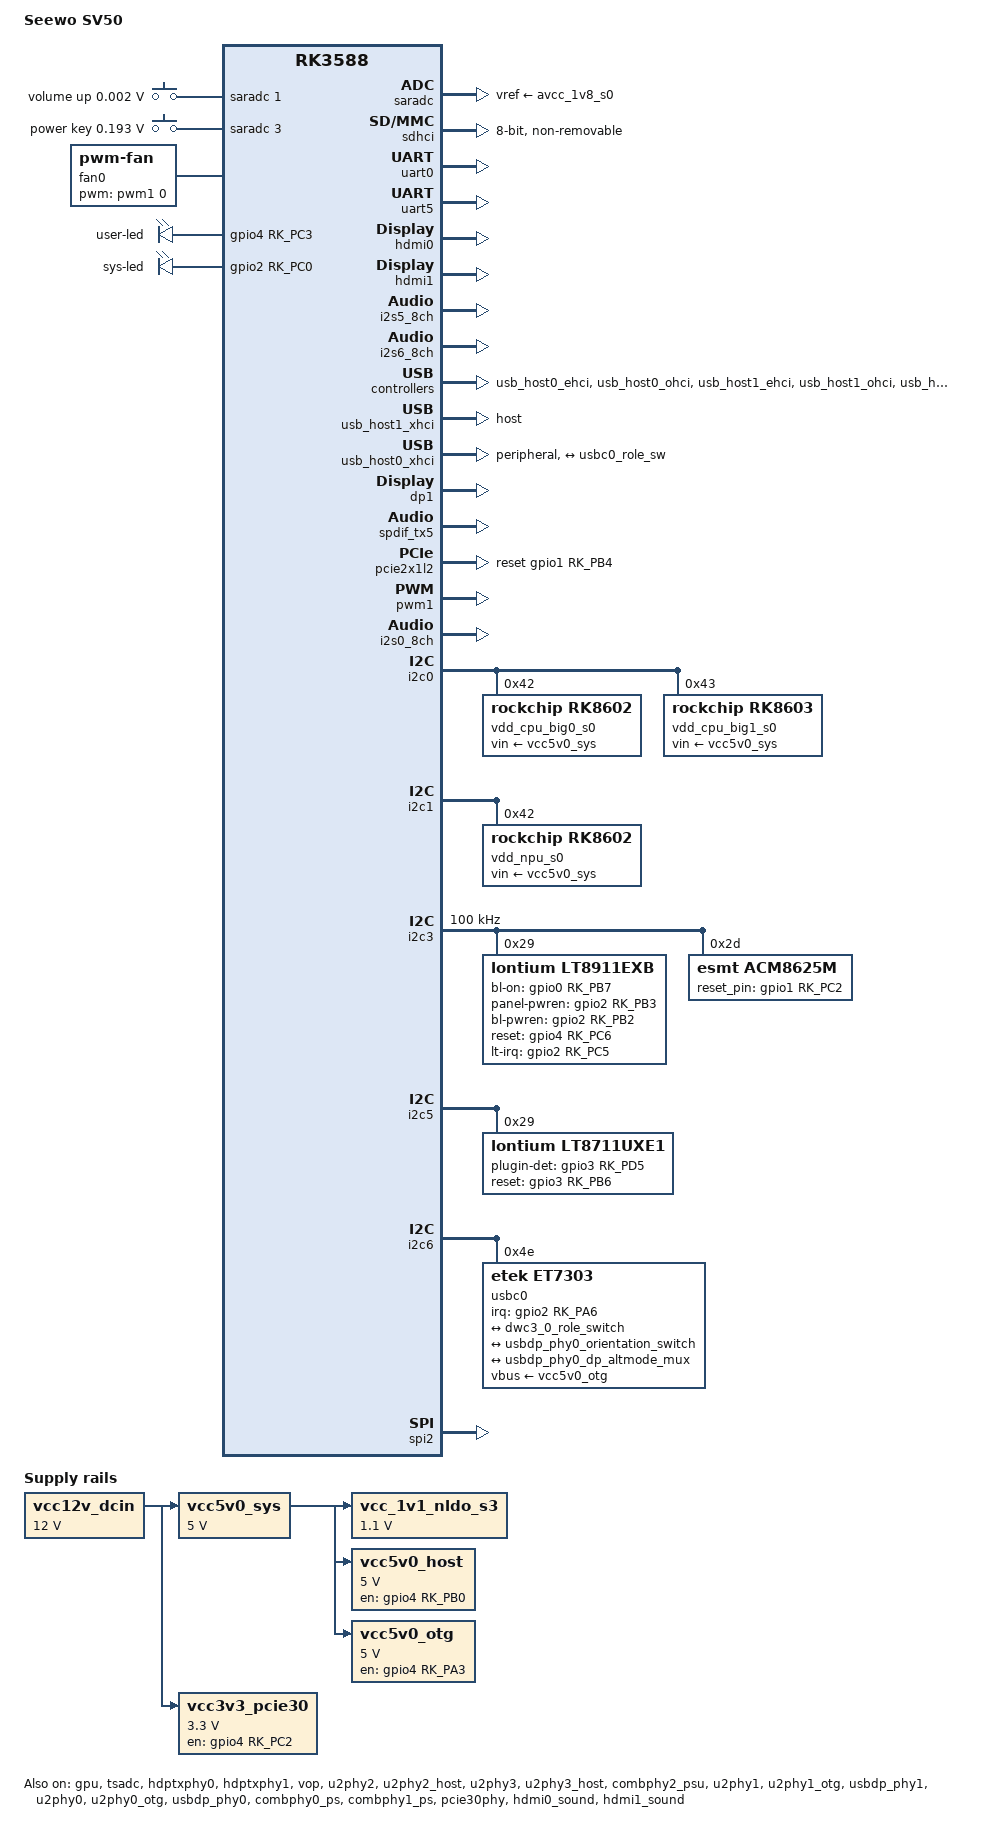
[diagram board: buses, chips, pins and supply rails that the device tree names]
// SPDX-License-Identifier: (GPL-2.0+ OR MIT)
/*
 * Copyright (c) 2024 Rockchip Electronics Co., Ltd.
 * Copyright (c) 2024 Radxa Computer (Shenzhen) Co., Ltd.
 * Copyright (c) 2026 ColtPlus
 */

/dts-v1/;

#include <dt-bindings/gpio/gpio.h>
#include <dt-bindings/leds/common.h>
#include <dt-bindings/pwm/pwm.h>
#include <dt-bindings/pinctrl/rockchip.h>
#include <dt-bindings/input/linux-event-codes.h>
#include <dt-bindings/soc/rockchip,vop2.h>
#include <dt-bindings/usb/pd.h>
#include "rk3588.dtsi"
#include "rk3588-rk806-single.dtsi"

/ {
	model = "Seewo SV50";
	compatible = "seewo,sv50", "rockchip,rk3588";

	aliases {
		mmc0 = &sdmmc;
		mmc1 = &sdhci;
		mmc2 = &sdio;
	};

	adc_keys: adc-keys {
		compatible = "adc-keys";
		io-channels = <&saradc 1>;
		io-channel-names = "buttons";
		keyup-threshold-microvolt = <1800000>;
		poll-interval = <100>;

		vol-up-key {
			label = "volume up";
			linux,code = <KEY_VOLUMEUP>;
			press-threshold-microvolt = <1750>;
		};
	};

	adc_power_keys: adc-power-keys {
		compatible = "adc-keys";
		io-channels = <&saradc 3>;
		io-channel-names = "buttons";
		keyup-threshold-microvolt = <1800000>;
		poll-interval = <100>;

		adc-power-key {
			label = "power key";
			linux,code = <KEY_POWER>;
			press-threshold-microvolt = <192920>;
			wakeup-source;
		};
	};

	fan0: pwm-fan {
		compatible = "pwm-fan";
		cooling-levels = <0 120 150 180 210 240 255>;
		pwms = <&pwm1 0 50000 0>;
		#cooling-cells = <2>;
	};

	vcc12v_dcin: vcc12v-dcin {
		compatible = "regulator-fixed";
		regulator-name = "vcc12v_dcin";
		regulator-always-on;
		regulator-boot-on;
		regulator-min-microvolt = <12000000>;
		regulator-max-microvolt = <12000000>;
	};

	vcc5v0_sys: vcc5v0-sys {
		compatible = "regulator-fixed";
		regulator-name = "vcc5v0_sys";
		regulator-always-on;
		regulator-boot-on;
		regulator-min-microvolt = <5000000>;
		regulator-max-microvolt = <5000000>;
		vin-supply = <&vcc12v_dcin>;
	};

	vcc_1v1_nldo_s3: regulator-vcc-1v1-nldo-s3 {
		compatible = "regulator-fixed";
		regulator-name = "vcc_1v1_nldo_s3";
		regulator-always-on;
		regulator-boot-on;
		regulator-min-microvolt = <1100000>;
		regulator-max-microvolt = <1100000>;
		vin-supply = <&vcc5v0_sys>;
	};

	dp1_sound: dp1-sound {
		compatible = "simple-audio-card";
		simple-audio-card,name = "rockchip,dp1";
		simple-audio-card,mclk-fs = <512>;
		status = "disabled";

		simple-audio-card,cpu {
			sound-dai = <&spdif_tx5>;
		};

		simple-audio-card,codec {
			sound-dai = <&dp1>;
		};
	};

	acm8625m_sound: i2s0-sound {
		compatible = "simple-audio-card";
		simple-audio-card,format = "i2s";
		simple-audio-card,name = "rockchip,acm8625m";
		simple-audio-card,mclk-fs = <256>;
		status = "disabled";

		simple-audio-card,cpu {
			sound-dai = <&i2s0_8ch>;
		};

		simple-audio-card,codec {
			sound-dai = <&acm8625m>;
		};
	};

	vcc3v3_pcie30: regulator-vcc3v3-pcie30 {
		compatible = "regulator-fixed";
		enable-active-high;
		gpios = <&gpio4 RK_PC2 GPIO_ACTIVE_HIGH>;
		pinctrl-names = "default";
		pinctrl-0 = <&pcie3_vcc3v3_en>;
		regulator-name = "vcc3v3_pcie30";
		regulator-min-microvolt = <3300000>;
		regulator-max-microvolt = <3300000>;
		startup-delay-us = <7500>;
		vin-supply = <&vcc12v_dcin>;
	};

	vcc5v0_host: vcc5v0-host-regulator {
		compatible = "regulator-fixed";
		regulator-name = "vcc5v0_host";
		regulator-boot-on;
		regulator-always-on;
		regulator-min-microvolt = <5000000>;
		regulator-max-microvolt = <5000000>;
		vin-supply = <&vcc5v0_sys>;
		enable-active-high;
		gpio = <&gpio4 RK_PB0 GPIO_ACTIVE_HIGH>;
		pinctrl-names = "default";
		pinctrl-0 = <&vcc5v0_host_en>;
	};

	vcc5v0_otg: vcc5v0-otg-regulator {
		compatible = "regulator-fixed";
		regulator-name = "vcc5v0_otg";
		regulator-min-microvolt = <5000000>;
		regulator-max-microvolt = <5000000>;
		enable-active-high;
		gpio = <&gpio4 RK_PA3 GPIO_ACTIVE_HIGH>;
		vin-supply = <&vcc5v0_sys>;
		pinctrl-names = "default";
		pinctrl-0 = <&vcc5v0_otg_en>;
	};

	reserved_memory: reserved-memory {
		#address-cells = <2>;
		#size-cells = <2>;
		ranges;

		cma: linux,cma@10000000 {
			compatible = "shared-dma-pool";
			reusable;
			reg = <0x0 (256 * 0x100000) 0x0 (256 * 0x100000)>;
			linux,cma-default;
		};
	};

	gpio-leds {
		compatible = "gpio-leds";
		pinctrl-names = "default";

		user-led {
			gpios = <&gpio4 RK_PC3 GPIO_ACTIVE_HIGH>;
			linux,default-trigger = "heartbeat";
			default-state = "on";
		};

		sys-led {
			gpios = <&gpio2 RK_PC0 GPIO_ACTIVE_HIGH>;
			linux,default-trigger = "boot";
		};
	};
};

&cpu_l0 {
	cpu-supply = <&vdd_cpu_lit_s0>;
	mem-supply = <&vdd_cpu_lit_mem_s0>;
};

&cpu_b0 {
	cpu-supply = <&vdd_cpu_big0_s0>;
};

&cpu_b2 {
	cpu-supply = <&vdd_cpu_big1_s0>;
};

&gpu {
	mali-supply = <&vdd_gpu_s0>;
	status = "okay";
};

&saradc {
	status = "okay";
	vref-supply = <&avcc_1v8_s0>;
};

&sdhci {
	bus-width = <8>;
	no-sdio;
	no-sd;
	non-removable;
	mmc-hs400-1_8v;
	mmc-hs400-enhanced-strobe;
	status = "okay";
};

&package_thermal {
	polling-delay = <1000>;

	trips {
		package_fan0: package-fan0 {
			temperature = <55000>;
			hysteresis = <2000>;
			type = "active";
		};

		package_fan1: package-fan1 {
			temperature = <65000>;
			hysteresis = <2000>;
			type = "active";
		};

		package_fan2: package-fan2 {
			temperature = <75000>;
			hysteresis = <2000>;
			type = "active";
		};
	};

	cooling-maps {
		map0 {
			trip = <&package_fan0>;
			cooling-device = <&fan0 THERMAL_NO_LIMIT 2>;
		};

		map1 {
			trip = <&package_fan1>;
			cooling-device = <&fan0 3 5>;
		};

		map2 {
			trip = <&package_fan2>;
			cooling-device = <&fan0 6 THERMAL_NO_LIMIT>;
		};
	};
};

&uart0 {
	pinctrl-0 = <&uart0m0_xfer>;
	status = "okay";
};

&uart5 {
	pinctrl-0 = <&uart5m0_xfer>;
	status = "okay";
};

&tsadc {
	status = "okay";
};

&hdptxphy0 {
	status = "okay";
};

&hdptxphy1 {
	status = "okay";
};

&hdmi0 {
	/* Override pinctrl: omit CEC pin, keep HPD and DDC */
	pinctrl-0 = <&hdmim0_tx0_hpd &hdmim0_tx0_scl &hdmim0_tx0_sda>;
	tmds-enable-gpios = <&gpio4 RK_PB1 GPIO_ACTIVE_HIGH>;
	status = "okay";
};

&hdmi0_in {
	hdmi0_in_vp0: endpoint {
		remote-endpoint = <&vp0_out_hdmi0>;
	};
};

&hdmi1 {
	pinctrl-names = "default";
	pinctrl-0 = <&hdmim0_tx1_hpd &hdmim1_tx1_scl &hdmim1_tx1_sda>;
	tmds-enable-gpios = <&gpio4 RK_PB2 GPIO_ACTIVE_HIGH>;
	status = "okay";
};

&hdmi1_in {
	hdmi1_in_vp1: endpoint {
		remote-endpoint = <&vp1_out_hdmi1>;
	};
};

&i2s5_8ch {
	rockchip,playback-only;
	status = "okay";
};

&i2s6_8ch {
	rockchip,playback-only;
	status = "okay";
};

&vop {
	status = "okay";
};

&vop_mmu {
	status = "okay";
};

&vp0 {
	vp0_out_hdmi0: endpoint@ROCKCHIP_VOP2_EP_HDMI0 {
		reg = <ROCKCHIP_VOP2_EP_HDMI0>;
		remote-endpoint = <&hdmi0_in_vp0>;
	};
};

&vp1 {
	vp1_out_hdmi1: endpoint@ROCKCHIP_VOP2_EP_HDMI1 {
		reg = <ROCKCHIP_VOP2_EP_HDMI1>;
		remote-endpoint = <&hdmi1_in_vp1>;
	};
};

&vp2 {
	vp2_out_dp1: endpoint@b {
		reg = <ROCKCHIP_VOP2_EP_DP1>;
		remote-endpoint = <&dp1_in_vp2>;
	};
};

&u2phy2 {
	status = "okay";
};

&u2phy2_host {
	phy-supply = <&vcc5v0_host>;
	status = "okay";
};

&u2phy3 {
	status = "okay";
};

&u2phy3_host {
	phy-supply = <&vcc5v0_host>;
	status = "okay";
};

&usb_host0_ehci {
	status = "okay";
};

&usb_host0_ohci {
	status = "okay";
};

&usb_host1_ehci {
	status = "okay";
};

&usb_host1_ohci {
	status = "okay";
};

/* USB3 host via combphy2 (replaces BSP usbhost3_0/usbhost_dwc3_0) */
&combphy2_psu {
	status = "okay";
};

&usb_host2_xhci {
	status = "okay";
};

&u2phy1 {
	status = "okay";
};

&u2phy1_otg {
	phy-supply = <&vcc5v0_host>;
	status = "okay";
};

/* USB3 OTG1 host (replaces BSP usbdrd3_1/usbdrd_dwc3_1) */
&usb_host1_xhci {
	dr_mode = "host";
	status = "okay";
};

&usbdp_phy1 {
	rockchip,dp-lane-mux = <2 3>;
	status = "okay";
};

/* USB3 OTG0 with Type-C (replaces BSP usbdrd3_0/usbdrd_dwc3_0) */
&u2phy0 {
	status = "okay";
};

&u2phy0_otg {
	vbus-supply = <&vcc5v0_otg>;
	status = "okay";
};

&usb_host0_xhci {
	dr_mode = "peripheral";
	usb-role-switch;
	status = "okay";

	port {
		dwc3_0_role_switch: endpoint {
			remote-endpoint = <&usbc0_role_sw>;
		};
	};
};

&usbdp_phy0 {
	mode-switch;
	orientation-switch;
	sbu1-dc-gpios = <&gpio0 RK_PC6 GPIO_ACTIVE_HIGH>;
	sbu2-dc-gpios = <&gpio0 RK_PD3 GPIO_ACTIVE_HIGH>;
	status = "okay";

	port {
		#address-cells = <1>;
		#size-cells = <0>;

		usbdp_phy0_orientation_switch: endpoint@0 {
			reg = <0>;
			remote-endpoint = <&usbc0_orien_sw>;
		};

		usbdp_phy0_dp_altmode_mux: endpoint@1 {
			reg = <1>;
			remote-endpoint = <&dp_altmode_mux>;
		};
	};
};

&dp1 {
	status = "okay";
	pinctrl-0 = <&dp1m0_pins>;
	pinctrl-names = "default";
};

&dp1_in {
	dp1_in_vp2: endpoint {
		remote-endpoint = <&vp2_out_dp1>;
	};
};

&spdif_tx5 {
	status = "okay";
};

&combphy0_ps {
	status = "okay";
};

&pcie2x1l2 {
	reset-gpios = <&gpio1 RK_PB4 GPIO_ACTIVE_HIGH>;
	status = "okay";
};

&combphy1_ps {
	status = "okay";
};

&pcie30phy {
	status = "okay";
};

&pcie3x4 {
	reset-gpios = <&gpio1 RK_PB2 GPIO_ACTIVE_HIGH>;
	vpcie3v3-supply = <&vcc3v3_pcie30>;
	status = "disabled";
};

&pwm1 {
	status = "okay";
};

&i2s0_8ch {
	pinctrl-names = "default";
	pinctrl-0 = <&i2s0_lrck
		     &i2s0_sclk
		     &i2s0_sdo0>;
	status = "okay";
};

&hdmi0_sound {
	status = "okay";
};

&hdmi1_sound {
	status = "okay";
};

&avcc_1v8_s0 {
	regulator-state-mem {
		regulator-on-in-suspend;
		regulator-suspend-microvolt = <1800000>;
	};
};

&vdd_log_s0 {
	regulator-state-mem {
		regulator-on-in-suspend;
	};
};

&i2c0 {
	status = "okay";
	pinctrl-names = "default";
	pinctrl-0 = <&i2c0m2_xfer>;

	vdd_cpu_big0_s0: regulator@42 {
		compatible = "rockchip,rk8602";
		reg = <0x42>;
		vin-supply = <&vcc5v0_sys>;
		fcs,suspend-voltage-selector = <1>;
		regulator-name = "vdd_cpu_big0_s0";
		regulator-min-microvolt = <550000>;
		regulator-max-microvolt = <1050000>;
		regulator-ramp-delay = <2300>;
		regulator-boot-on;
		regulator-always-on;

		regulator-state-mem {
			regulator-off-in-suspend;
		};
	};

	vdd_cpu_big1_s0: regulator@43 {
		compatible = "rockchip,rk8603", "rockchip,rk8602";
		reg = <0x43>;
		vin-supply = <&vcc5v0_sys>;
		fcs,suspend-voltage-selector = <1>;
		regulator-name = "vdd_cpu_big1_s0";
		regulator-min-microvolt = <550000>;
		regulator-max-microvolt = <1050000>;
		regulator-ramp-delay = <2300>;
		regulator-boot-on;
		regulator-always-on;

		regulator-state-mem {
			regulator-off-in-suspend;
		};
	};
};

&i2c1 {
	status = "okay";
	pinctrl-names = "default";
	pinctrl-0 = <&i2c1m2_xfer>;

	vdd_npu_s0: regulator@42 {
		compatible = "rockchip,rk8602";
		reg = <0x42>;
		vin-supply = <&vcc5v0_sys>;
		fcs,suspend-voltage-selector = <1>;
		regulator-name = "vdd_npu_s0";
		regulator-min-microvolt = <550000>;
		regulator-max-microvolt = <950000>;
		regulator-ramp-delay = <2300>;
		regulator-boot-on;
		regulator-always-on;

		regulator-state-mem {
			regulator-off-in-suspend;
		};
	};
};

&i2c3 {
	pinctrl-names = "default";
	pinctrl-0 = <&i2c3m0_xfer>;
	clock-frequency = <100000>;
	status = "okay";

	lt8911exb: lt8911exb@29 {
		compatible = "lontium,lt8911exb";
		reg = <0x29>;
		bl-on-gpios = <&gpio0 RK_PB7 GPIO_ACTIVE_HIGH>;
		panel-pwren-gpios = <&gpio2 RK_PB3 GPIO_ACTIVE_HIGH>;
		bl-pwren-gpios = <&gpio2 RK_PB2 GPIO_ACTIVE_HIGH>;
		reset-gpios = <&gpio4 RK_PC6 GPIO_ACTIVE_HIGH>;
		lt-irq-gpios = <&gpio2 RK_PC5 GPIO_ACTIVE_HIGH>;
		status = "okay";
	};

	acm8625m: acm8625m@2d {
		compatible = "esmt,acm8625m";
		reg = <0x2d>;
		#sound-dai-cells = <0>;
		reset_pin = <&gpio1 RK_PC2 GPIO_ACTIVE_HIGH>;
		no_mclk;
		status = "okay";
	};
};

&i2c5 {
	#address-cells = <1>;
	#size-cells = <0>;
	pinctrl-names = "default";
	pinctrl-0 = <&i2c5m0_xfer>;
	status = "okay";

	lt8711uxe1: lt8711uxe1@29 {
		compatible = "lontium,lt8711uxe1";
		reg = <0x29>;
		plugin-det-gpios = <&gpio3 RK_PD5 GPIO_ACTIVE_HIGH>;
		reset-gpios = <&gpio3 RK_PB6 GPIO_ACTIVE_HIGH>;
		status = "okay";
	};
};

&i2c6 {
	pinctrl-names = "default";
	pinctrl-0 = <&i2c6m0_xfer>;
	status = "okay";

	usbc0: et7304@4e {
		compatible = "etek,et7303";
		reg = <0x4e>;
		interrupt-parent = <&gpio2>;
		interrupts = <RK_PA6 IRQ_TYPE_LEVEL_LOW>;
		pinctrl-names = "default";
		pinctrl-0 = <&usbc0_int>;
		vbus-supply = <&vcc5v0_otg>;
		status = "okay";

		ports {
			#address-cells = <1>;
			#size-cells = <0>;

			port@0 {
				reg = <0>;
				usbc0_role_sw: endpoint {
					remote-endpoint = <&dwc3_0_role_switch>;
				};
			};
		};

		usb_con: connector {
			compatible = "usb-c-connector";
			label = "USB-C";
			data-role = "dual";
			power-role = "dual";
			try-power-role = "sink";
			op-sink-microwatt = <1000000>;
			sink-pdos = <PDO_FIXED(5000, 100, PDO_FIXED_USB_COMM)>;
			source-pdos = <PDO_FIXED(5000, 3000, PDO_FIXED_USB_COMM)>;

			altmodes {
				#address-cells = <1>;
				#size-cells = <0>;

				altmode@0 {
					reg = <0>;
					svid = <0xff01>;
					vdo = <0xffffffff>;
				};
			};

			ports {
				#address-cells = <1>;
				#size-cells = <0>;

				port@0 {
					reg = <0>;
					usbc0_orien_sw: endpoint {
						remote-endpoint = <&usbdp_phy0_orientation_switch>;
					};
				};

				port@1 {
					reg = <1>;
					dp_altmode_mux: endpoint {
						remote-endpoint = <&usbdp_phy0_dp_altmode_mux>;
					};
				};
			};
		};
	};
};

&spi2 {
	status = "okay";
};

&pinctrl {
	usb {
		vcc5v0_host_en: vcc5v0-host-en {
			rockchip,pins = <4 RK_PB0 RK_FUNC_GPIO &pcfg_pull_none>;
		};

		vcc5v0_otg_en: vcc5v0-otg-en {
			rockchip,pins = <4 RK_PA3 RK_FUNC_GPIO &pcfg_pull_none>;
		};

		usbc0_int: usbc0-int {
			rockchip,pins = <2 RK_PA6 RK_FUNC_GPIO &pcfg_pull_up>;
		};
	};

	pcie {
		pcie3_vcc3v3_en: pcie3-vcc3v3-en {
			rockchip,pins = <4 RK_PC2 RK_FUNC_GPIO &pcfg_pull_none>;
		};
	};
};
